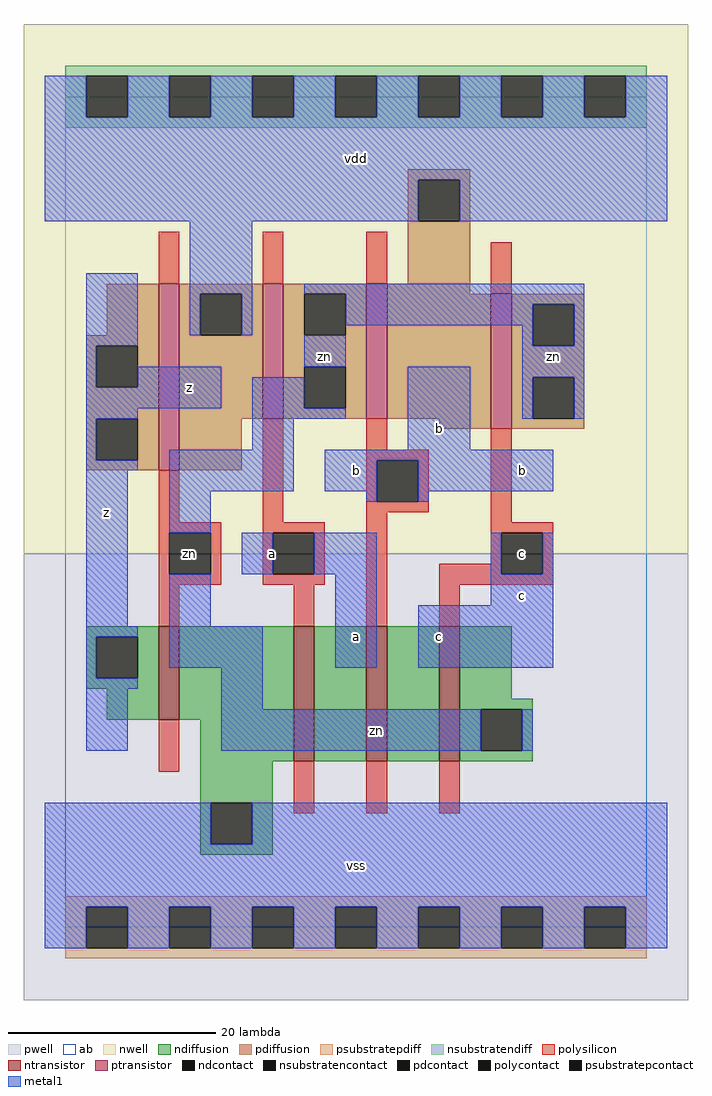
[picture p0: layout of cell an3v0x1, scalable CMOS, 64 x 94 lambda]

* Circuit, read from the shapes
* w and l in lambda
.subckt an3v0x1 a b c vdd vss z zn
M1 vss zn z vss nfet w=9 l=2
M2 n1 a vss vss nfet w=13 l=2
M3 n2 b n1 vss nfet w=13 l=2
M4 zn c n2 vss nfet w=13 l=2
M5 vdd zn z vdd pfet w=18 l=2
M6 zn a vdd vdd pfet w=13 l=2
M7 vdd b zn vdd pfet w=13 l=2
M8 zn c vdd vdd pfet w=13 l=2
.ends

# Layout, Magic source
magic
tech scmos
<< ab >>
rect 0 0 56 80
<< pwell >>
rect -4 -7 60 36
<< nwell >>
rect -4 36 60 87
<< polysilicon >>
rect 9 62 11 67
rect 19 62 21 67
rect 29 62 31 67
rect 41 61 43 66
rect 9 39 11 44
rect 19 39 21 49
rect 29 46 31 49
rect 29 45 35 46
rect 29 41 30 45
rect 34 41 35 45
rect 29 40 35 41
rect 9 38 15 39
rect 9 34 10 38
rect 14 34 15 38
rect 9 33 15 34
rect 19 38 25 39
rect 19 34 20 38
rect 24 34 25 38
rect 19 33 25 34
rect 9 29 11 33
rect 22 29 24 33
rect 29 29 31 40
rect 41 39 43 48
rect 41 38 47 39
rect 41 35 42 38
rect 36 34 42 35
rect 46 34 47 38
rect 36 33 47 34
rect 36 29 38 33
rect 9 15 11 20
rect 22 11 24 16
rect 29 11 31 16
rect 36 11 38 16
<< ndiffusion >>
rect 2 28 9 29
rect 2 24 3 28
rect 7 24 9 28
rect 2 23 9 24
rect 4 20 9 23
rect 11 20 22 29
rect 13 16 22 20
rect 24 16 29 29
rect 31 16 36 29
rect 38 22 43 29
rect 38 21 45 22
rect 38 17 40 21
rect 44 17 45 21
rect 38 16 45 17
rect 13 12 20 16
rect 13 8 14 12
rect 18 8 20 12
rect 13 7 20 8
<< pdiffusion >>
rect 33 72 39 73
rect 33 68 34 72
rect 38 68 39 72
rect 33 62 39 68
rect 4 57 9 62
rect 2 56 9 57
rect 2 52 3 56
rect 7 52 9 56
rect 2 49 9 52
rect 2 45 3 49
rect 7 45 9 49
rect 2 44 9 45
rect 11 61 19 62
rect 11 57 13 61
rect 17 57 19 61
rect 11 49 19 57
rect 21 61 29 62
rect 21 57 23 61
rect 27 57 29 61
rect 21 54 29 57
rect 21 50 23 54
rect 27 50 29 54
rect 21 49 29 50
rect 31 61 39 62
rect 31 49 41 61
rect 11 44 17 49
rect 36 48 41 49
rect 43 60 50 61
rect 43 56 45 60
rect 49 56 50 60
rect 43 53 50 56
rect 43 49 45 53
rect 49 49 50 53
rect 43 48 50 49
<< metal1 >>
rect -2 78 2 82
rect 6 78 10 82
rect 14 78 18 82
rect 22 78 26 82
rect 30 78 34 82
rect 38 78 42 82
rect 46 78 50 82
rect 54 78 58 82
rect -2 72 58 78
rect -2 68 34 72
rect 38 68 58 72
rect 2 56 7 63
rect 12 61 18 68
rect 12 57 13 61
rect 17 57 18 61
rect 23 61 50 62
rect 27 60 50 61
rect 27 58 45 60
rect 2 52 3 56
rect 23 54 27 57
rect 44 56 45 58
rect 49 56 50 60
rect 7 52 15 54
rect 2 50 15 52
rect 18 50 23 53
rect 2 49 7 50
rect 2 45 3 49
rect 18 49 27 50
rect 18 46 22 49
rect 33 46 39 54
rect 44 53 50 56
rect 44 49 45 53
rect 49 49 50 53
rect 2 44 7 45
rect 2 29 6 44
rect 10 42 22 46
rect 25 45 47 46
rect 25 42 30 45
rect 10 38 14 42
rect 29 41 30 42
rect 34 42 47 45
rect 34 41 35 42
rect 17 34 20 38
rect 24 34 30 38
rect 10 29 14 34
rect 2 28 7 29
rect 2 24 3 28
rect 10 25 19 29
rect 26 25 30 34
rect 41 34 42 38
rect 46 34 47 38
rect 41 31 47 34
rect 34 25 47 31
rect 2 23 7 24
rect 2 17 6 23
rect 15 21 19 25
rect 15 17 40 21
rect 44 17 45 21
rect -2 8 14 12
rect 18 8 58 12
rect -2 2 58 8
rect -2 -2 2 2
rect 6 -2 10 2
rect 14 -2 18 2
rect 22 -2 26 2
rect 30 -2 34 2
rect 38 -2 42 2
rect 46 -2 50 2
rect 54 -2 58 2
<< ntransistor >>
rect 9 20 11 29
rect 22 16 24 29
rect 29 16 31 29
rect 36 16 38 29
<< ptransistor >>
rect 9 44 11 62
rect 19 49 21 62
rect 29 49 31 62
rect 41 48 43 61
<< polycontact >>
rect 30 41 34 45
rect 10 34 14 38
rect 20 34 24 38
rect 42 34 46 38
<< ndcontact >>
rect 3 24 7 28
rect 40 17 44 21
rect 14 8 18 12
<< pdcontact >>
rect 34 68 38 72
rect 3 52 7 56
rect 3 45 7 49
rect 13 57 17 61
rect 23 57 27 61
rect 23 50 27 54
rect 45 56 49 60
rect 45 49 49 53
<< psubstratepcontact >>
rect 2 -2 6 2
rect 10 -2 14 2
rect 18 -2 22 2
rect 26 -2 30 2
rect 34 -2 38 2
rect 42 -2 46 2
rect 50 -2 54 2
<< nsubstratencontact >>
rect 2 78 6 82
rect 10 78 14 82
rect 18 78 22 82
rect 26 78 30 82
rect 34 78 38 82
rect 42 78 46 82
rect 50 78 54 82
<< psubstratepdiff >>
rect 0 2 56 3
rect 0 -2 2 2
rect 6 -2 10 2
rect 14 -2 18 2
rect 22 -2 26 2
rect 30 -2 34 2
rect 38 -2 42 2
rect 46 -2 50 2
rect 54 -2 56 2
rect 0 -3 56 -2
<< nsubstratendiff >>
rect 0 82 56 83
rect 0 78 2 82
rect 6 78 10 82
rect 14 78 18 82
rect 22 78 26 82
rect 30 78 34 82
rect 38 78 42 82
rect 46 78 50 82
rect 54 78 56 82
rect 0 77 56 78
<< labels >>
rlabel polycontact 12 36 12 36 6 zn
rlabel metal1 4 40 4 40 6 z
rlabel polycontact 12 35 12 35 6 zn
rlabel metal1 12 52 12 52 6 z
rlabel metal1 28 6 28 6 6 vss
rlabel metal1 28 28 28 28 6 a
rlabel metal1 20 36 20 36 6 a
rlabel metal1 28 44 28 44 6 b
rlabel metal1 25 55 25 55 6 zn
rlabel metal1 28 74 28 74 6 vdd
rlabel metal1 36 28 36 28 6 c
rlabel metal1 30 19 30 19 6 zn
rlabel metal1 44 32 44 32 6 c
rlabel metal1 44 44 44 44 6 b
rlabel polycontact 44 36 44 36 6 c
rlabel metal1 36 48 36 48 6 b
rlabel metal1 47 55 47 55 6 zn
<< end >>
